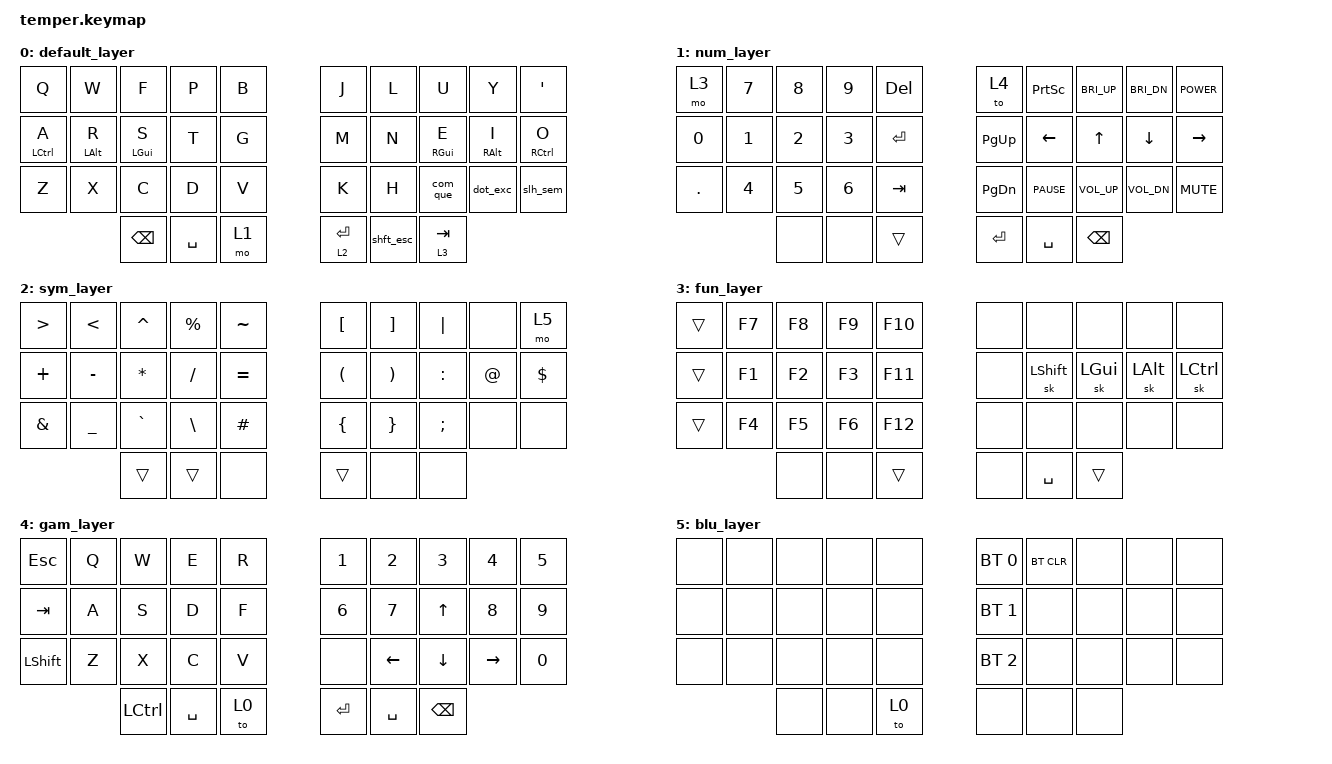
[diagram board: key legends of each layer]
#include <behaviors.dtsi>
#include <dt-bindings/zmk/keys.h>
#include <dt-bindings/zmk/bt.h>
#include <dt-bindings/zmk/outputs.h>
#include <dt-bindings/zmk/bt.h>

#define DEFAULT 0
#define NUM 1
#define SYM 2
#define FUN 3
#define GAM 4
#define BLU 5

&mt {
    tapping-term-ms = <200>;
    flavor = "tap-preferred";
};

/ {
    behaviors {
        com_que: comma_questionmark {
            compatible = "zmk,behavior-mod-morph";
            #binding-cells = <0>;
            bindings = <&kp COMMA>, <&kp QMARK>;
            mods = <(MOD_LSFT|MOD_RSFT)>;
        };
        dot_exc: period_exclamation {
            compatible = "zmk,behavior-mod-morph";
            #binding-cells = <0>;
            bindings = <&kp DOT>, <&kp EXCL>;
            mods = <(MOD_LSFT|MOD_RSFT)>;
        };
        slh_sem: slash_semicolon {
            compatible = "zmk,behavior-mod-morph";
            #binding-cells = <0>;
            bindings = <&kp FSLH>, <&kp SEMI>;
            mods = <(MOD_LSFT|MOD_RSFT)>;
        };
        shft_esc: shift_escape {
            compatible = "zmk,behavior-tap-dance";
            #binding-cells = <0>;
            tapping-term-ms = <200>;
            bindings = <&kp LSHFT>, <&kp ESC>;
        };
    };
        keymap {
                compatible = "zmk,keymap";

                default_layer {
                        bindings = <
// ╭─────────────┬─────────────┬─────────────┬─────────────┬─────────────╮   ╭─────────────┬─────────────┬─────────────┬─────────────┬─────────────╮
        &kp Q         &kp W         &kp F         &kp P         &kp B             &kp J         &kp L         &kp U         &kp Y         &kp APOS
// ├─────────────┼─────────────┼─────────────┼─────────────┼─────────────┤   ├─────────────┼─────────────┼─────────────┼─────────────┼─────────────┤
    &mt LCTRL A   &mt LALT R    &mt LGUI S        &kp T         &kp G             &kp M         &kp N     &mt RGUI E    &mt RALT I    &mt RCTRL O
// ├─────────────┼─────────────┼─────────────┼─────────────┼─────────────┤   ├─────────────┼─────────────┼─────────────┼─────────────┼─────────────┤
        &kp Z         &kp X         &kp C         &kp D         &kp V             &kp K         &kp H         &com_que      &dot_exc      &slh_sem
// ╰─────────────┴─────────────┼─────────────┼─────────────┼─────────────┤   ├─────────────┼─────────────┼─────────────┼─────────────┴─────────────╯
                                   &kp BSPC       &kp SPACE     &mo 1             &lt 2 RET     &shft_esc     &lt 3 TAB
//                             ╰─────────────┴─────────────┴─────────────╯   ╰─────────────┴─────────────┴─────────────╯
                        >;
                };

                num_layer {
                        bindings = <
// ╭─────────────┬─────────────┬─────────────┬─────────────┬─────────────╮   ╭─────────────┬─────────────┬─────────────┬─────────────┬─────────────╮
        &mo 3         &kp N7        &kp N8        &kp N9        &kp DEL       &to 4         &kp PSCRN     &kp C_BRI_UP  &kp C_BRI_DN  &kp C_POWER
// ├─────────────┼─────────────┼─────────────┼─────────────┼─────────────┤   ├─────────────┼─────────────┼─────────────┼─────────────┼─────────────┤
        &kp N0        &kp N1        &kp N2        &kp N3        &kp RET       &kp PG_UP     &kp LEFT      &kp UP        &kp DOWN      &kp RIGHT
// ├─────────────┼─────────────┼─────────────┼─────────────┼─────────────┤   ├─────────────┼─────────────┼─────────────┼─────────────┼─────────────┤
        &kp DOT       &kp N4        &kp N5        &kp N6        &kp TAB       &kp PG_DN     &kp C_PAUSE   &kp C_VOL_UP  &kp C_VOL_DN  &kp C_MUTE
// ╰─────────────┴─────────────┼─────────────┼─────────────┼─────────────┤   ├─────────────┼─────────────┼─────────────┼─────────────┴─────────────╯
                                   &none          &none         &trans        &kp RET       &kp SPACE     &kp BSPC
//                             ╰─────────────┴─────────────┴─────────────╯   ╰─────────────┴─────────────┴─────────────╯
                        >;
                };

                sym_layer {
                        bindings = <
// ╭─────────────┬─────────────┬─────────────┬─────────────┬─────────────╮   ╭─────────────┬─────────────┬─────────────┬─────────────┬─────────────╮
        &kp GT        &kp LT        &kp CARET     &kp PRCNT     &kp TILDE         &kp LBKT      &kp RBKT      &kp PIPE      &none         &mo 5
// ├─────────────┼─────────────┼─────────────┼─────────────┼─────────────┤   ├─────────────┼─────────────┼─────────────┼─────────────┼─────────────┤
        &kp PLUS      &kp MINUS     &kp ASTRK     &kp FSLH      &kp EQUAL         &kp LPAR      &kp RPAR      &kp COLON     &kp AT        &kp DLLR
// ├─────────────┼─────────────┼─────────────┼─────────────┼─────────────┤   ├─────────────┼─────────────┼─────────────┼─────────────┼─────────────┤
        &kp AMPS      &kp UNDER     &kp GRAVE     &kp BSLH      &kp HASH          &kp LBRC      &kp RBRC      &kp SEMI      &none         &none
// ╰─────────────┴─────────────┼─────────────┼─────────────┼─────────────┤   ├─────────────┼─────────────┼─────────────┼─────────────┴─────────────╯
                                   &trans         &trans        &none             &trans        &none         &none
//                             ╰─────────────┴─────────────┴─────────────╯   ╰─────────────┴─────────────┴─────────────╯
                        >;
                };

                fun_layer {
                        bindings = <
// ╭─────────────┬─────────────┬─────────────┬─────────────┬─────────────╮   ╭─────────────┬─────────────┬─────────────┬─────────────┬─────────────╮
        &trans         &kp F7        &kp F8        &kp F9       &kp F10           &none         &none         &none         &none         &none
// ├─────────────┼─────────────┼─────────────┼─────────────┼─────────────┤   ├─────────────┼─────────────┼─────────────┼─────────────┼─────────────┤
        &trans         &kp F1        &kp F2        &kp F3       &kp F11           &none       &sk LSHIFT    &sk LGUI      &sk LALT      &sk LCTRL
// ├─────────────┼─────────────┼─────────────┼─────────────┼─────────────┤   ├─────────────┼─────────────┼─────────────┼─────────────┼─────────────┤
        &trans         &kp F4        &kp F5        &kp F6       &kp F12           &none         &none         &none         &none         &none
// ╰─────────────┴─────────────┼─────────────┼─────────────┼─────────────┤   ├─────────────┼─────────────┼─────────────┼─────────────┴─────────────╯
                                   &none          &none         &trans            &none         &kp SPACE     &trans
//                             ╰─────────────┴─────────────┴─────────────╯   ╰─────────────┴─────────────┴─────────────╯
                        >;
                };

                gam_layer {
                        bindings = <
// ╭─────────────┬─────────────┬─────────────┬─────────────┬─────────────╮   ╭─────────────┬─────────────┬─────────────┬─────────────┬─────────────╮
        &kp ESC       &kp Q         &kp W         &kp E         &kp R             &kp N1        &kp N2        &kp N3        &kp N4        &kp N5
// ├─────────────┼─────────────┼─────────────┼─────────────┼─────────────┤   ├─────────────┼─────────────┼─────────────┼─────────────┼─────────────┤
        &kp TAB       &kp A         &kp S         &kp D         &kp F             &kp N6        &kp N7        &kp UP        &kp N8        &kp N9
// ├─────────────┼─────────────┼─────────────┼─────────────┼─────────────┤   ├─────────────┼─────────────┼─────────────┼─────────────┼─────────────┤
        &kp LSHFT     &kp Z         &kp X         &kp C         &kp V             &none         &kp LEFT      &kp DOWN      &kp RIGHT     &kp N0
// ╰─────────────┴─────────────┼─────────────┼─────────────┼─────────────┤   ├─────────────┼─────────────┼─────────────┼─────────────┴─────────────╯
                                   &kp LCTRL      &kp SPACE     &to 0             &kp RET       &kp SPACE     &kp BSPC
//                             ╰─────────────┴─────────────┴─────────────╯   ╰─────────────┴─────────────┴─────────────╯
                        >;
                };

                blu_layer {
                        bindings = <
// ╭─────────────┬─────────────┬─────────────┬─────────────┬─────────────╮   ╭─────────────┬─────────────┬─────────────┬─────────────┬─────────────╮
        &none         &none         &none         &none         &none          &bt BT_SEL 0  &bt BT_CLR       &none         &none         &none
// ├─────────────┼─────────────┼─────────────┼─────────────┼─────────────┤   ├─────────────┼─────────────┼─────────────┼─────────────┼─────────────┤
        &none         &none         &none         &none         &none          &bt BT_SEL 1      &none        &none         &none         &none
// ├─────────────┼─────────────┼─────────────┼─────────────┼─────────────┤   ├─────────────┼─────────────┼─────────────┼─────────────┼─────────────┤
        &none         &none         &none         &none         &none          &bt BT_SEL 2      &none        &none         &none         &none
// ╰─────────────┴─────────────┼─────────────┼─────────────┼─────────────┤   ├─────────────┼─────────────┼─────────────┼─────────────┴─────────────╯
                                   &none          &none         &to 0             &none         &none         &none
//                             ╰─────────────┴─────────────┴─────────────╯   ╰─────────────┴─────────────┴─────────────╯
                        >;
                };

        };
};









// NULL LAYER
//                 [INSERTLAYERHERE]_layer {
//                         bindings = <
// // ╭─────────────┬─────────────┬─────────────┬─────────────┬─────────────╮   ╭─────────────┬─────────────┬─────────────┬─────────────┬─────────────╮
//         &none         &none         &none         &none         &none             &none         &none         &none         &none         &none
// // ├─────────────┼─────────────┼─────────────┼─────────────┼─────────────┤   ├─────────────┼─────────────┼─────────────┼─────────────┼─────────────┤
//         &none         &none         &none         &none         &none             &none         &none         &none         &none         &none
// // ├─────────────┼─────────────┼─────────────┼─────────────┼─────────────┤   ├─────────────┼─────────────┼─────────────┼─────────────┼─────────────┤
//         &none         &none         &none         &none         &none             &none         &none         &none         &none         &none
// // ╰─────────────┴─────────────┼─────────────┼─────────────┼─────────────┤   ├─────────────┼─────────────┼─────────────┼─────────────┴─────────────╯
//                                    &none          &none         &to 0             &none         &none         &none
// //                             ╰─────────────┴─────────────┴─────────────╯   ╰─────────────┴─────────────┴─────────────╯
//                         >;
//                 };
